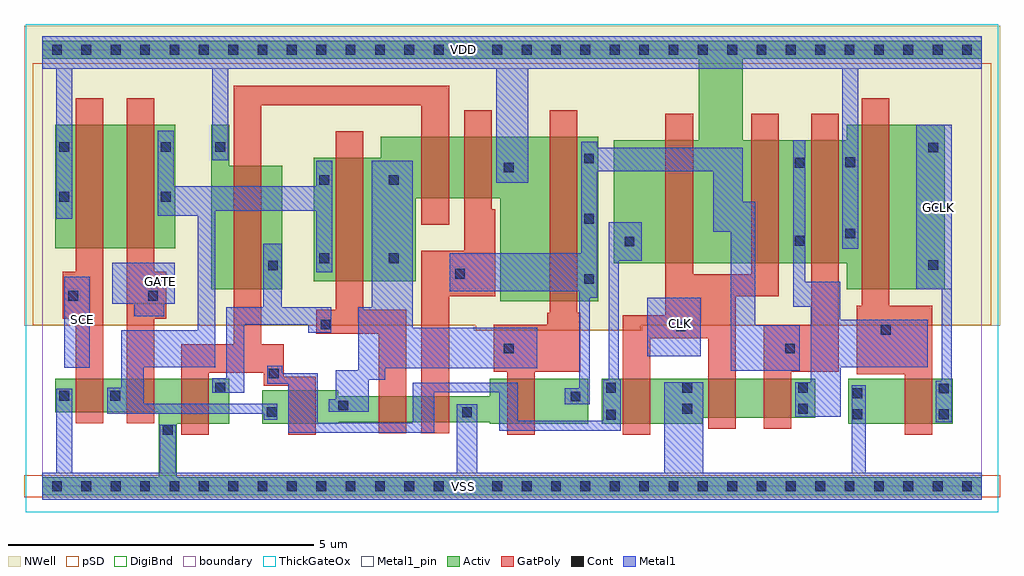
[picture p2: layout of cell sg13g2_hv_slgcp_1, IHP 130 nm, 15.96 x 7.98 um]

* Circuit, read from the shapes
.subckt sg13g2_hv_slgcp_1 CLK GATE GCLK SCE VDD VSS
XM1 n1 SCE VSS VSS sg13_hv_nmos w=0.55u l=0.45u
XM2 VSS GATE n1 VSS sg13_hv_nmos w=0.55u l=0.45u
XM3 n2 n3 VSS VSS sg13_hv_nmos w=0.74u l=0.45u
XM4 n4 n3 n1 VSS sg13_hv_nmos w=0.55u l=0.45u
XM5 n5 n2 n4 VSS sg13_hv_nmos w=0.42u l=0.45u
XM6 VSS n6 n5 VSS sg13_hv_nmos w=0.42u l=0.45u
XM7 n6 n4 VSS VSS sg13_hv_nmos w=0.74u l=0.45u
XM8 VSS CLK n3 VSS sg13_hv_nmos w=0.74u l=0.45u
XM9 n7 CLK VSS VSS sg13_hv_nmos w=0.64u l=0.45u
XM10 n8 n6 n7 VSS sg13_hv_nmos w=0.64u l=0.45u
XM11 GCLK n8 VSS VSS sg13_hv_nmos w=0.74u l=0.45u
XM12 n9 SCE VDD VDD sg13_hv_pmos w=2.015u l=0.45u
XM13 n1 GATE n9 VDD sg13_hv_pmos w=2.015u l=0.45u
XM14 n2 n3 VDD VDD sg13_hv_pmos w=2.015u l=0.45u
XM15 n4 n2 n1 VDD sg13_hv_pmos w=2.015u l=0.45u
XM16 n10 n3 n4 VDD sg13_hv_pmos w=1.01u l=0.45u
XM17 VDD n6 n10 VDD sg13_hv_pmos w=1.01u l=0.45u
XM18 n6 n4 VDD VDD sg13_hv_pmos w=2.69u l=0.45u
XM19 VDD CLK n3 VDD sg13_hv_pmos w=2.015u l=0.45u
XM20 n8 CLK VDD VDD sg13_hv_pmos w=2.015u l=0.45u
XM21 VDD n6 n8 VDD sg13_hv_pmos w=2.015u l=0.45u
XM22 GCLK n8 VDD VDD sg13_hv_pmos w=2.69u l=0.45u
.ends

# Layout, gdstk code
import gdstk
lib = gdstk.Library(unit=1e-6, precision=1e-09)
def R(c, l, rs):  # rectangles x0, y0, x1, y1
    for r in rs: c.add(gdstk.rectangle(r[:2], r[2:], *l))
def A(c, l, x, y, w, h, nx, ny, dx, dy):  # array of equal rectangles
    R(c, l, [(x+i*dx, y+j*dy, x+i*dx+w, y+j*dy+h) for i in range(nx) for j in range(ny)])
def P(c, l, *ps):  # polygons
    for p in ps: c.add(gdstk.Polygon(p, *l))
Activ = (1, 0)
GatPoly = (5, 0)
Cont = (6, 0)
Metal1 = (8, 0)
Metal1_pin = (8, 2)
pSD = (14, 0)
DigiBnd = (16, 0)
NWell = (31, 0)
ThickGateOx = (44, 0)
boundary = (189, 4)

sg13g2_hv_slgcp_1 = lib.new_cell('sg13g2_hv_slgcp_1')
R(sg13g2_hv_slgcp_1, Activ, [(13.175,1.02,14.89,1.76), (0.21,3.895,2.17,5.91), (0,6.99,15.36,7.29)])
P(sg13g2_hv_slgcp_1, Activ, [(0,-0.15),(0,0.15),(1.9,0.15),(1.9,1.21),(0.21,1.21),(0.21,1.76),(3.06,1.76),(3.06,1.02),(2.2,1.02),(2.2,0.15),(15.36,0.15),(15.36,-0.15)],
  [(9.15,1.02),(9.15,1.76),(12.635,1.76),(12.635,1.12),(10.795,1.12),(10.795,1.02)],
  [(3.6,1.02),(3.6,1.57),(4.835,1.57),(4.835,1.47),(7.315,1.47),(7.315,1.76),(8.93,1.76),(8.93,1.02),(7.315,1.02),(7.315,1.05),(4.835,1.05),(4.835,1.02)],
  [(13.15,3.22),(13.15,3.645),(9.345,3.645),(9.345,5.66),(10.735,5.66),(10.735,6.99),(11.45,6.99),(11.45,5.66),(13.15,5.66),(13.15,5.91),(14.755,5.91),(14.755,3.22)],
  [(7.49,3.03),(7.49,4.71),(6.105,4.71),(6.105,3.355),(4.435,3.355),(4.435,5.37),(5.535,5.37),(5.535,5.72),(9.09,5.72),(9.09,3.03)],
  [(2.76,3.225),(2.76,5.91),(3.06,5.91),(3.06,5.24),(3.92,5.24),(3.92,3.225)])
P(sg13g2_hv_slgcp_1, GatPoly, [(0.55,1.03),(0.55,2.74),(0.335,2.74),(0.335,3.51),(0.55,3.51),(0.55,6.345),(1,6.345),(1,1.03)],
  [(14.1,0.84),(14.1,1.835),(13.315,1.835),(13.315,2.95),(13.4,2.95),(13.4,6.345),(13.85,6.345),(13.85,2.95),(14.55,2.95),(14.55,0.84)],
  [(11.8,0.94),(11.8,2.645),(12.57,2.645),(12.57,6.09),(13.02,6.09),(13.02,1.87),(12.25,1.87),(12.25,0.94)],
  [(9.49,0.84),(9.49,2.795),(10.19,2.795),(10.19,6.09),(10.64,6.09),(10.64,3.465),(11.59,3.465),(11.59,6.09),(12.04,6.09),(12.04,3.105),(11.34,3.105),(11.34,0.94),(10.89,0.94),(10.89,2.42),(9.94,2.42),(9.94,0.84)],
  [(7.6,0.84),(7.6,1.87),(7.38,1.87),(7.38,2.645),(8.26,2.645),(8.26,2.84),(8.3,2.84),(8.3,6.15),(8.75,6.15),(8.75,2.84),(8.795,2.84),(8.795,1.87),(8.05,1.87),(8.05,0.84)],
  [(6.2,0.87),(6.2,3.85),(6.9,3.85),(6.9,6.15),(7.35,6.15),(7.35,4.53),(7.405,4.53),(7.405,3.105),(6.65,3.105),(6.65,0.87)],
  [(2.27,0.84),(2.27,2.32),(3.13,2.32),(3.13,6.55),(6.65,6.55),(6.65,4.28),(6.2,4.28),(6.2,6.235),(3.58,6.235),(3.58,2.32),(3.95,2.32),(3.95,1.795),(4.47,1.795),(4.47,0.84),(4.02,0.84),(4.02,1.645),(3.62,1.645),(3.62,1.86),(2.72,1.86),(2.72,0.84)],
  [(5.5,0.87),(5.5,2.495),(4.48,2.495),(4.48,2.885),(4.8,2.885),(4.8,5.805),(5.25,5.805),(5.25,2.885),(5.95,2.885),(5.95,0.87)],
  [(1.38,1.03),(1.38,6.345),(1.83,6.345),(1.83,3.51),(2.03,3.51),(2.03,2.74),(1.83,2.74),(1.83,1.03)])
A(sg13g2_hv_slgcp_1, Cont, 0.16, -0.08, 0.16, 0.16, 32, 2, 0.48, 7.14)
A(sg13g2_hv_slgcp_1, Cont, 8.86, 3.31, 0.16, 0.16, 1, 3, 0, 0.985)
R(sg13g2_hv_slgcp_1, Cont, [(1.97,0.84,2.13,1), (9.22,1.09,9.38,1.25), (13.25,1.1,13.41,1.26), (14.66,1.1,14.82,1.26), (6.865,1.13,7.025,1.29), (3.67,1.135,3.83,1.295), (10.465,1.19,10.625,1.35), (12.36,1.19,12.52,1.35), (4.84,1.24,5,1.4), (8.64,1.39,8.8,1.55), (0.28,1.4,0.44,1.56), (1.11,1.4,1.27,1.56), (13.25,1.44,13.41,1.6), (14.66,1.52,14.82,1.68), (2.83,1.53,2.99,1.69), (9.22,1.53,9.38,1.69), (10.465,1.53,10.625,1.69), (12.36,1.53,12.52,1.69), (3.705,1.765,3.865,1.925), (7.545,2.175,7.705,2.335), (12.145,2.175,12.305,2.335), (13.71,2.48,13.87,2.64), (10.365,2.535,10.525,2.695), (4.55,2.565,4.71,2.725), (0.425,3.035,0.585,3.195), (1.73,3.035,1.89,3.195), (6.75,3.395,6.91,3.555), (3.69,3.53,3.85,3.69), (14.49,3.54,14.65,3.7), (4.53,3.65,4.69,3.81), (5.665,3.65,5.825,3.81), (9.52,3.925,9.68,4.085), (12.3,3.935,12.46,4.095), (13.13,4.055,13.29,4.215), (14.49,4.49,14.65,4.65), (0.28,4.655,0.44,4.815), (1.94,4.655,2.1,4.815), (4.53,4.93,4.69,5.09), (5.665,4.93,5.825,5.09), (7.545,5.135,7.705,5.295), (12.3,5.21,12.46,5.37), (13.13,5.22,13.29,5.38), (14.49,5.46,14.65,5.62), (0.28,5.47,0.44,5.63), (1.94,5.47,2.1,5.63), (2.83,5.47,2.99,5.63)])
R(sg13g2_hv_slgcp_1, Metal1, [(0.355,1.94,0.775,3.43), (9.89,2.125,10.77,3.08)])
P(sg13g2_hv_slgcp_1, Metal1, [(0,-0.22),(0,0.22),(0.23,0.22),(0.23,1.595),(0.49,1.595),(0.49,0.22),(1.92,0.22),(1.92,1.005),(2.18,1.005),(2.18,0.22),(6.78,0.22),(6.78,1.34),(7.11,1.34),(7.11,0.22),(10.17,0.22),(10.17,1.705),(10.81,1.705),(10.81,0.22),(13.235,0.22),(13.235,1.65),(13.465,1.65),(13.465,0.22),(15.36,0.22),(15.36,-0.22)],
  [(13.08,3.885),(13.08,6.825),(7.945,6.825),(7.945,4.965),(7.42,4.965),(7.42,6.825),(3.04,6.825),(3.04,5.335),(2.78,5.335),(2.78,6.825),(0.49,6.825),(0.49,4.375),(0.23,4.375),(0.23,6.825),(0,6.825),(0,7.36),(15.36,7.36),(15.36,6.825),(13.34,6.825),(13.34,3.885)],
  [(8.54,1.34),(8.54,1.6),(8.78,1.6),(8.78,3.19),(6.66,3.19),(6.66,3.81),(8.81,3.81),(8.81,5.635),(9.07,5.635),(9.07,5.54),(11.45,5.54),(11.45,4.65),(11.66,4.65),(11.66,2.635),(12.385,2.635),(12.385,1.89),(11.255,1.89),(11.255,4.16),(10.975,4.16),(10.975,5.155),(9.07,5.155),(9.07,3.08),(8.955,3.08),(8.955,1.34)],
  [(14.61,1.05),(14.61,1.73),(14.71,1.73),(14.71,3.225),(14.29,3.225),(14.29,5.91),(14.87,5.91),(14.87,1.05)],
  [(12.31,1.14),(12.31,1.7),(12.565,1.7),(12.565,2.935),(12.28,2.935),(12.28,5.66),(12.475,5.66),(12.475,3.345),(13.045,3.345),(13.045,2.725),(14.48,2.725),(14.48,1.95),(13.055,1.95),(13.055,1.14)],
  [(4.02,0.88),(4.02,1.68),(3.68,1.68),(3.68,1.975),(3.925,1.975),(3.925,1.85),(4.5,1.85),(4.5,1.04),(6.06,1.04),(6.06,1.695),(7.775,1.695),(7.775,1.075),(9.17,1.075),(9.17,1.74),(9.265,1.74),(9.265,4.315),(9.8,4.315),(9.8,3.69),(9.425,3.69),(9.425,1.74),(9.455,1.74),(9.455,0.905),(7.475,0.905),(7.475,1.535),(6.41,1.535),(6.41,0.88)],
  [(4.68,1.22),(4.68,1.42),(4.795,1.42),(4.795,1.9),(5.165,1.9),(5.165,2.925),(5.385,2.925),(5.385,5.325),(6.06,5.325),(6.06,2.595),(8.09,2.595),(8.09,1.93),(5.605,1.93),(5.605,1.745),(5.34,1.745),(5.34,1.22)],
  [(3.62,1.085),(3.62,1.185),(1.06,1.185),(1.06,1.61),(1.29,1.61),(1.29,2.555),(2.545,2.555),(2.545,4.425),(1.89,4.425),(1.89,5.815),(2.15,5.815),(2.15,4.905),(4.48,4.905),(4.48,5.325),(4.74,5.325),(4.74,3.5),(4.48,3.5),(4.48,4.51),(2.83,4.51),(2.83,1.95),(1.655,1.95),(1.655,1.35),(3.84,1.35),(3.84,1.085)],
  [(2.78,1.53),(2.78,1.77),(3.01,1.77),(3.01,2.925),(3.615,2.925),(3.615,3.97),(3.915,3.97),(3.915,2.925),(4.725,2.925),(4.725,2.515),(4.35,2.515),(4.35,2.64),(3.305,2.64),(3.305,1.53)],
  [(1.5,2.78),(1.5,2.985),(1.14,2.985),(1.14,3.655),(2.165,3.655),(2.165,2.985),(1.995,2.985),(1.995,2.78)])
R(sg13g2_hv_slgcp_1, Metal1_pin, [(0,-0.22,15.36,0.22), (0.355,1.94,0.775,3.43), (9.89,2.125,10.77,3.08), (1.14,2.985,2.165,3.655), (14.29,3.225,14.87,5.91), (0,6.825,15.36,7.36)])
R(sg13g2_hv_slgcp_1, pSD, [(-0.3,-0.18,15.66,0.18)])
P(sg13g2_hv_slgcp_1, pSD, [(7.09,2.555),(7.09,2.635),(-0.16,2.635),(-0.16,6.92),(15.52,6.92),(15.52,2.635),(9.785,2.635),(9.785,2.555)])
R(sg13g2_hv_slgcp_1, DigiBnd, [(0,0,15.36,7.14)])
P(sg13g2_hv_slgcp_1, NWell, [(7.055,2.545),(7.055,2.625),(-0.3,2.625),(-0.3,7.53),(15.66,7.53),(15.66,2.625),(9.82,2.625),(9.82,2.545)])
R(sg13g2_hv_slgcp_1, ThickGateOx, [(-0.27,-0.42,15.63,7.56)])
R(sg13g2_hv_slgcp_1, boundary, [(0,0,15.36,7.14)])
sg13g2_hv_slgcp_1.add(gdstk.Label('GCLK', (14.65,4.555), layer=8, texttype=25))
sg13g2_hv_slgcp_1.add(gdstk.Label('SCE', (0.655,2.72), layer=8, texttype=25))
sg13g2_hv_slgcp_1.add(gdstk.Label('GATE', (1.93,3.355), layer=8, texttype=25))
sg13g2_hv_slgcp_1.add(gdstk.Label('CLK', (10.43,2.66), layer=8, texttype=25))
sg13g2_hv_slgcp_1.add(gdstk.Label('VSS', (6.895,0), layer=8, texttype=25))
sg13g2_hv_slgcp_1.add(gdstk.Label('VDD', (6.89,7.14), layer=8, texttype=25))

lib.write_gds('sg13g2_hv_slgcp_1.gds')
